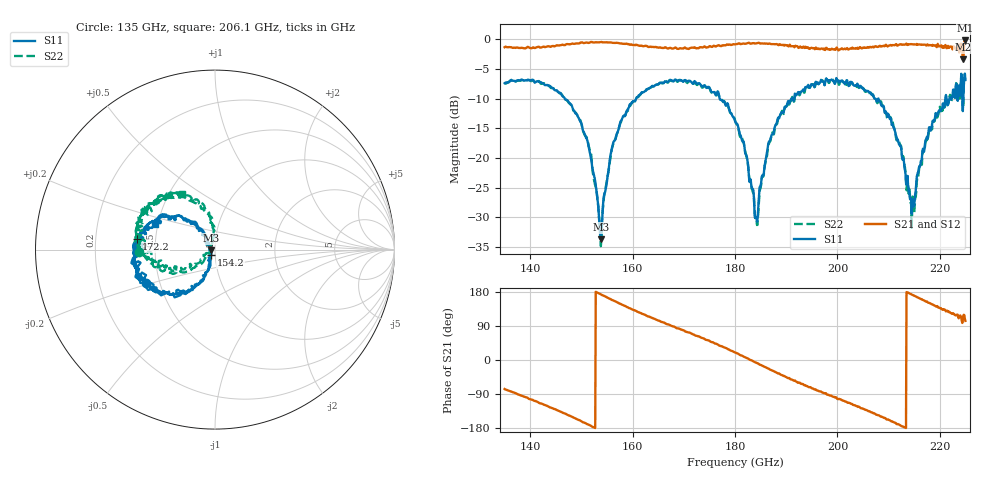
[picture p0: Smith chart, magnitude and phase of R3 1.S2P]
! Python used to change reference impedance from 50 to 1.
# Hz S RI R 1
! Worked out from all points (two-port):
!   901 points, 135 GHz to 225 GHz, reference 1 ohm
!   highest |S21| = -0.19 dB at 224.9 GHz (marker M1); lowest = -3.4 dB at 224.5 GHz (marker M2)
!   |S21| within 3 dB of the highest: start of sweep to 224.5 GHz; 224.6054 GHz to end of sweep
!   lowest |S11| = -33.7 dB at 153.8 GHz (marker M3), VSWR 1.04, Z = 0.961 - j0.00915 ohm
!   |S11| at or under -10 dB: 146.7 GHz to 160.7 GHz (13.92 GHz wide, 9.06 % of centre); 177 GHz to 191 GHz (14.02 GHz wide, 7.62 % of centre); 208 GHz to 221.1 GHz (13.07 GHz wide, 6.09 % of centre)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
!   |S22| runs from -34.9 to -6.5 dB; largest |S21 - S12| = 0.12
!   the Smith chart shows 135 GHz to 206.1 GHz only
!   S11 on the Smith chart (normalised r, x): 135 GHz: 0.42, -0.19; 154.2 GHz: 0.95, -0.06; 172.2 GHz: 0.39, +0.06; 206.1 GHz: 0.48, +0.16
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1.35e11  -0.383 -0.1868  0.1993 -0.8339  0.2129 -0.83  -0.4233 -0.014
1.433e11  -0.3949 0.1167  -0.4488 -0.7442  -0.4408 -0.7474  -0.3036 0.2712
1.5e11  -0.1193 0.1553  -0.8953 -0.2938  -0.8862 -0.3016  -0.0304 0.19
1.516e11  -0.0626 0.0961  -0.9304 -0.1326  -0.9291 -0.1414  -0.011 0.118
1.538e11  -0.0201 -0.00476  -0.9438 0.1101  -0.9439 0.1026  -0.0171 0.00565
1.542e11  -0.0232 -0.0312  -0.93 0.1557  -0.9304 0.1509  -0.0336 -0.0174
1.56e11  -0.0389 -0.1159  -0.8698 0.345  -0.8729 0.3366  -0.0882 -0.0849
1.579e11  -0.0928 -0.1901  -0.7656 0.5132  -0.7696 0.5087  -0.1685 -0.1271
1.65e11  -0.3689 -0.1984  -0.2077 0.8247  -0.2146 0.8234  -0.4152 0.0109
1.722e11  -0.4371 0.0604  0.3607 0.771  0.3615 0.7715  -0.3406 0.267
1.8e11  -0.1384 0.1517  0.8501 0.3111  0.8517 0.3072  -0.0326 0.2052
1.819e11  -0.0673 0.0965  0.9091 0.1221  0.9094 0.1208  -0.00401 0.1173
1.842e11  -0.0306 -0.00494  0.9189 -0.1156  0.9188 -0.1167  -0.0269 0.0129
1.882e11  -0.0815 -0.1833  0.7538 -0.5088  0.7552 -0.506  -0.1644 -0.1014
1.95e11  -0.3585 -0.2134  0.2302 -0.8168  0.2403 -0.8139  -0.4149 0.027
2.061e11  -0.3337 0.1416  -0.6025 -0.6011  -0.5985 -0.6059  -0.1811 0.3088
2.1e11  -0.1713 0.1535  -0.8184 -0.3342  -0.8186 -0.3344  -0.052 0.225
2.147e11  -0.043 -0.0122  -0.8981 0.1358  -0.8986 0.1345  -0.0426 0.0204
2.19e11  -0.0902 -0.1895  -0.7165 0.5251  -0.7161 0.5249  -0.1848 -0.0901
2.245e11  -0.1835 -0.167  -0.2065 0.644  -0.1699 0.6548  -0.2527 0.0297
2.249e11  -0.4216 -0.2943  -0.3086 0.9284  -0.2668 0.9415  -0.4645 0.0424
2.25e11  -0.4171 -0.1793  -0.2113 0.8956  -0.1853 0.9014  -0.4334 0.1166
